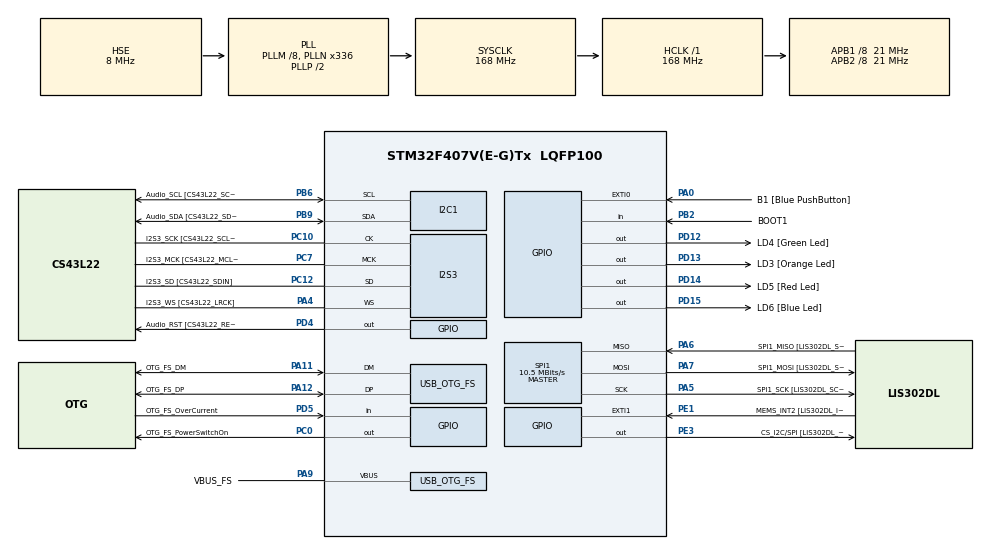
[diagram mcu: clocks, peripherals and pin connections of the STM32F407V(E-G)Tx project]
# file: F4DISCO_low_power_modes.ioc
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PA11.GPIO_Speed=GPIO_SPEED_FREQ_LOW
PD12.GPIO_Label=LD4 [Green Led]
PH0-OSC_IN.Signal=RCC_OSC_IN
PC10.GPIO_PuPd=GPIO_NOPULL
SPI1.VirtualType=VM_MASTER
PB10.GPIO_PuPd=GPIO_NOPULL
PA10.GPIO_PuPd=GPIO_NOPULL
PC12.Signal=I2S3_SD
PA14.GPIO_Label=SWCLK
NVIC.RTC_WKUP_IRQn=true\:0\:0\:false\:false\:true\:true\:true
VP_RTC_VS_RTC_Activate.Mode=RTC_Enabled
PA6.GPIO_Label=SPI1_MISO [LIS302DL_SDO]
PB6.GPIO_Label=Audio_SCL [CS43L22_SCL]
PC15-OSC32_OUT.GPIO_Label=PC15-OSC32_OUT
PC3.GPIO_Speed=GPIO_SPEED_FREQ_LOW
RCC.SYSCLKSource=RCC_SYSCLKSOURCE_PLLCLK
PA6.GPIO_Mode=GPIO_MODE_AF_PP
PD14.GPIO_Speed=GPIO_SPEED_FREQ_LOW
PA4.Mode=Half_Duplex_Master
SPI1.Direction=SPI_DIRECTION_2LINES
I2S3.AudioFreq-Half_Duplex_Master=I2S_AUDIOFREQ_96K
PD4.Signal=GPIO_Output
RCC.APB2TimFreq_Value=42000000
PB6.Signal=I2C1_SCL
PC7.Signal=I2S3_MCK
PB6.Mode=I2C
SPI1.CalculateBaudRate=10.5 MBits/s
PC3.Signal=I2S2_SD
PE1.Signal=GPXTI1
USB_OTG_FS.phy_itface=HCD_PHY_EMBEDDED
PB2.Signal=GPIO_Input
I2S3.ErrorAudioFreq=-2.34 %
PA5.GPIO_PuPd=GPIO_NOPULL
I2S3.ErrorAudioFreq-Half_Duplex_Master=0.8 %
PD5.GPIO_Mode=GPIO_MODE_INPUT
PD14.GPIO_PuPd=GPIO_NOPULL
PB2.GPIO_PuPd=GPIO_NOPULL
VP_TIM1_VS_ClockSourceINT.Mode=Internal
SPI1.CalculateBaudRate-Full_Duplex_Master=42.0 MBits/s
Mcu.Package=LQFP100
PB9.Signal=I2C1_SDA
PD12.Signal=GPIO_Output
PB9.GPIO_PuPd=GPIO_NOPULL
PA10.Signal=USB_OTG_FS_ID
RCC.APB2CLKDivider=RCC_HCLK_DIV8
RCC.APB1TimFreq_Value=42000000
TIM1.Period=5000
PC12.GPIO_PuPd=GPIO_NOPULL
PA6.GPIO_Speed=GPIO_SPEED_FREQ_LOW
PA12.GPIO_PuPd=GPIO_NOPULL
PA4.GPIO_Label=I2S3_WS [CS43L22_LRCK]
PD15.Signal=GPIO_Output
PC0.PinState=GPIO_PIN_SET
PA5.Mode=Full_Duplex_Master
I2S3.FullDuplexMode=I2S_FULLDUPLEXMODE_DISABLE
PA9.GPIO_Label=VBUS_FS
PB6.GPIO_PuPd=GPIO_NOPULL
PA11.GPIO_Label=OTG_FS_DM
PE1.GPIO_PuPd=GPIO_NOPULL
PC0.Signal=GPIO_Output
RCC.APB1CLKDivider=RCC_HCLK_DIV8
PC14-OSC32_IN.Signal=RCC_OSC32_IN
PA0-WKUP.GPIO_ModeDefaultEXTI=GPIO_MODE_EVT_RISING
PA0-WKUP.GPIO_Label=B1 [Blue PushButton]
PA0-WKUP.Signal=GPXTI0
USB_HOST0.BSP.STBoard=false
PC10.GPIO_Mode=GPIO_MODE_AF_PP
PB10.GPIO_Mode=GPIO_MODE_AF_PP
PA9.Signal=USB_OTG_FS_VBUS
I2S3.VirtualMode=I2S_MODE_MASTER
PC7.GPIO_PuPd=GPIO_NOPULL
PB10.Signal=I2S2_CK
PA5.Signal=SPI1_SCK
PC12.Mode=Half_Duplex_Master
PE1.GPIO_Label=MEMS_INT2 [LIS302DL_INT2]
USB_HOST.VirtualModeFS=Cdc
PA7.GPIO_Speed=GPIO_SPEED_FREQ_LOW
PB2.GPIO_Mode=GPIO_MODE_INPUT
SPI1.Mode=SPI_MODE_MASTER
PD4.GPIO_Speed=GPIO_SPEED_FREQ_LOW
PE3.GPIO_PuPd=GPIO_NOPULL
PH1-OSC_OUT.GPIO_Label=PH1-OSC_OUT
PA13.Mode=Serial_Wire
PC7.GPIO_Label=I2S3_MCK [CS43L22_MCLK]
PA4.Signal=I2S3_WS
PC12.GPIO_Mode=GPIO_MODE_AF_PP
PA5.GPIO_Label=SPI1_SCK [LIS302DL_SCL/SPC]
PE3.GPIO_Speed=GPIO_SPEED_FREQ_LOW
PC12.GPIO_Label=I2S3_SD [CS43L22_SDIN]
PA11.Signal=USB_OTG_FS_DM
ProjectManager.HeapSize=0x200
NVIC.TIM1_UP_TIM10_IRQn=true\:0\:0\:false\:false\:true\:true\:true
NVIC.PriorityGroup=NVIC_PRIORITYGROUP_0
PE3.Signal=GPIO_Output
PC3.GPIO_Label=PDM_OUT [MP45DT02_DOUT]
PA0-WKUP.GPIO_PuPd=GPIO_NOPULL
I2S3.Instance=SPI$Index
PB6.GPIO_Speed=GPIO_SPEED_FREQ_LOW
SPI1.BaudRatePrescaler-Full_Duplex_Master=SPI_BAUDRATEPRESCALER_2
USB_HOST0.BSP.mode=Output
Mcu.Family=STM32F4
PC3.GPIO_Mode=GPIO_MODE_AF_PP
PA6.Mode=Full_Duplex_Master
RCC.CortexFreq_Value=168000000
PB10.GPIO_Speed=GPIO_SPEED_FREQ_LOW
PB6.GPIO_Mode=GPIO_MODE_AF_OD
PD15.GPIO_Speed=GPIO_SPEED_FREQ_LOW
PC10.Signal=I2S3_CK
PA7.GPIO_Mode=GPIO_MODE_AF_PP
PC0.GPIO_Label=OTG_FS_PowerSwitchOn
PA11.Mode=Host_Only
PC10.GPIO_Speed=GPIO_SPEED_FREQ_LOW
PA11.GPIO_PuPd=GPIO_NOPULL
ProjectManager.StackSize=0x400
SPI1.Mode-Full_Duplex_Master=SPI_MODE_MASTER
PD13.Signal=GPIO_Output
PA12.Signal=USB_OTG_FS_DP
TIM1.Prescaler=41999
RCC.HCLKFreq_Value=168000000
USB_HOST0.BSP.ip=GPIO
RCC.AHBFreq_Value=168000000
PH0-OSC_IN.Mode=HSE-External-Oscillator
PH0-OSC_IN.GPIO_Label=PH0-OSC_IN
PA9.GPIO_Mode=GPIO_MODE_INPUT
RCC.HSE_VALUE=8000000
PA4.GPIO_PuPd=GPIO_NOPULL
PA4.GPIO_Speed=GPIO_SPEED_FREQ_LOW
PA6.GPIO_PuPd=GPIO_NOPULL
PC14-OSC32_IN.Mode=LSE-External-Oscillator
PA14.Mode=Serial_Wire
PA10.GPIO_Label=OTG_FS_ID
PC7.GPIO_Mode=GPIO_MODE_AF_PP
USB_HOST0.BSP.i2creg=0
PH1-OSC_OUT.Mode=HSE-External-Oscillator
USB_HOST0.BSP.i2caddr=0
PD13.GPIO_Label=LD3 [Orange Led]
PA6.Signal=SPI1_MISO
USB_HOST.USBH_HandleTypeDef-CDC_FS=hUsbHostFS
PD5.GPIO_Label=OTG_FS_OverCurrent
NVIC.OTG_FS_IRQn=true\:0\:0\:false\:false\:true\:true\:true
PD15.GPIO_PuPd=GPIO_NOPULL
USB_OTG_FS.VirtualMode=Host_Only
PA10.GPIO_Speed=GPIO_SPEED_FREQ_LOW
USB_HOST0.BSP.name=Drive_VBUS_FS
PB9.GPIO_Speed=GPIO_SPEED_FREQ_LOW
PC14-OSC32_IN.GPIO_Label=PC14-OSC32_IN
PC0.GPIO_PuPd=GPIO_NOPULL
PA12.GPIO_Speed=GPIO_SPEED_FREQ_LOW
PB3.GPIO_Label=SWO
PC15-OSC32_OUT.Mode=LSE-External-Oscillator
PD12.GPIO_Speed=GPIO_SPEED_FREQ_LOW
PD15.GPIO_Label=LD6 [Blue Led]
RTC.WakeUpCounter=10
PA7.Mode=Full_Duplex_Master
PB9.GPIO_Label=Audio_SDA [CS43L22_SDA]
PC10.GPIO_Label=I2S3_SCK [CS43L22_SCLK]
RTC.WakeUpClock=RTC_WAKEUPCLOCK_CK_SPRE_16BITS
USB_HOST0.BSP.solution=PC0
PC10.Mode=Half_Duplex_Master
USB_HOST.BSP.number=1
PD5.Signal=GPIO_Input
PE1.GPIO_ModeDefaultEXTI=GPIO_MODE_EVT_RISING
PA9.GPIO_PuPd=GPIO_NOPULL
PA12.GPIO_Label=OTG_FS_DP
PA10.GPIO_Mode=GPIO_MODE_AF_PP
PA13.Signal=SYS_JTMS-SWDIO
PD4.GPIO_PuPd=GPIO_NOPULL
PA9.Mode=Activate_VBUS
PC0.GPIO_Speed=GPIO_SPEED_FREQ_LOW
I2S3.RealAudioFreq-Half_Duplex_Master=96.774 KHz
ProjectManager.TargetToolchain=STM32CubeIDE
PB10.GPIO_Label=CLK_IN [MP45DT02_CLK]
PB9.Mode=I2C
PC15-OSC32_OUT.Signal=RCC_OSC32_OUT
PA7.GPIO_PuPd=GPIO_NOPULL
board=STM32F407G-DISC1
PD13.GPIO_Speed=GPIO_SPEED_FREQ_LOW
PC7.GPIO_Speed=GPIO_SPEED_FREQ_LOW
RCC.VCOOutputFreq_Value=336000000
PB9.GPIO_Mode=GPIO_MODE_AF_OD
PA12.GPIO_Mode=GPIO_MODE_AF_PP
PA4.GPIO_Mode=GPIO_MODE_AF_PP
RCC.APB2Freq_Value=21000000
USB_HOST0.BSP.api=Unknown
PD4.GPIO_Label=Audio_RST [CS43L22_RESET]
PH1-OSC_OUT.Signal=RCC_OSC_OUT
PD13.GPIO_PuPd=GPIO_NOPULL
PD5.GPIO_PuPd=GPIO_NOPULL
PD14.GPIO_Label=LD5 [Red Led]
Mcu.Name=STM32F407V(E-G)Tx
PA13.GPIO_Label=SWDIO
PD14.Signal=GPIO_Output
RCC.48MHZClocksFreq_Value=48000000
PB3.Signal=SYS_JTDO-SWO
RCC.SYSCLKFreq_VALUE=168000000
PA7.GPIO_Label=SPI1_MOSI [LIS302DL_SDA/SDI/SDO]
PA12.Mode=Host_Only
VP_USB_HOST_VS_USB_HOST_CDC_FS.Mode=CDC_FS
PA14.Signal=SYS_JTCK-SWCLK
PB2.GPIO_Label=BOOT1
RCC.HSI_VALUE=16000000
VP_RTC_VS_RTC_WakeUp_intern.Mode=WakeUp
PA5.GPIO_Speed=GPIO_SPEED_FREQ_LOW
RCC.PLLQ=7
I2S3.RealAudioFreq=93.75 KHz
RCC.PLLM=8
RCC.PLLN=336
PE3.GPIO_Label=CS_I2C/SPI [LIS302DL_CS_I2C/SPI]
PC7.Mode=Master_Clock_Activated
PA11.GPIO_Mode=GPIO_MODE_AF_PP
RCC.APB1Freq_Value=21000000
PA5.GPIO_Mode=GPIO_MODE_AF_PP
PC12.GPIO_Speed=GPIO_SPEED_FREQ_LOW
PC3.GPIO_PuPd=GPIO_NOPULL
PD12.GPIO_PuPd=GPIO_NOPULL
PA7.Signal=SPI1_MOSI
USB_HOST0.BSP.instance=PC0

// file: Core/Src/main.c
/* USER CODE BEGIN Header */
/**
  ******************************************************************************
  * @file           : main.c
  * @brief          : Main program body
  ******************************************************************************
  * @attention
  *
  * <h2><center>&copy; Copyright (c) 2021 STMicroelectronics.
  * All rights reserved.</center></h2>
  *
  * This software component is licensed by ST under Ultimate Liberty license
  * SLA0044, the "License"; You may not use this file except in compliance with
  * the License. You may obtain a copy of the License at:
  *                             www.st.com/SLA0044
  *
  ******************************************************************************
  */
/* USER CODE END Header */
#include "main.h"
#include "usb_host.h"

I2C_HandleTypeDef hi2c1;

I2S_HandleTypeDef hi2s3;

RTC_HandleTypeDef hrtc;

SPI_HandleTypeDef hspi1;

TIM_HandleTypeDef htim1;

void SystemClock_Config(void);
static void MX_GPIO_Init(void);
static void MX_I2C1_Init(void);
static void MX_I2S3_Init(void);
static void MX_SPI1_Init(void);
static void MX_RTC_Init(void);
static void MX_TIM1_Init(void);
void MX_USB_HOST_Process(void);

int main(void)
{

  /* MCU Configuration--------------------------------------------------------*/

  /* Reset of all peripherals, Initializes the Flash interface and the Systick. */
  HAL_Init();

  /* Configure the system clock */
  SystemClock_Config();

  /* Initialize all configured peripherals */
  MX_GPIO_Init();
  MX_I2C1_Init();
  MX_I2S3_Init();
  MX_SPI1_Init();
  MX_USB_HOST_Init();
  MX_RTC_Init();
  MX_TIM1_Init();
  /* USER CODE BEGIN 2 */
  __HAL_PWR_CLEAR_FLAG(PWR_FLAG_WU);
  /* USER CODE END 2 */

  /* Infinite loop */
  /* USER CODE BEGIN WHILE */
  while (1)
  {
//	enter sleep
	  HAL_SuspendTick();
	  HAL_PWR_EnterSLEEPMode(PWR_LOWPOWERREGULATOR_ON, PWR_SLEEPENTRY_WFI);

//	Wake up from TIM1 interrupt after 5 seconds, Blue LED on
	  HAL_Delay(500);
	  HAL_GPIO_WritePin(GPIOD, GPIO_PIN_15, GPIO_PIN_RESET);

//	Enter STOP
	  HAL_PWR_EnterSTOPMode(PWR_LOWPOWERREGULATOR_ON, PWR_STOPENTRY_WFI);

//	Wake up from RTC WakeUp after 5 seconds, red LED on
	  HAL_GPIO_WritePin(GPIOD, GPIO_PIN_14, GPIO_PIN_RESET);

//	  Orange LED blink before STBY
	  HAL_GPIO_WritePin(GPIOD, GPIO_PIN_13, GPIO_PIN_SET);
	  HAL_Delay(250);
	  HAL_GPIO_TogglePin(GPIOD, GPIO_PIN_13);
	  HAL_Delay(250);
	  HAL_GPIO_TogglePin(GPIOD, GPIO_PIN_13);
	  HAL_Delay(250);
	  HAL_GPIO_TogglePin(GPIOD, GPIO_PIN_13);

//	  enter STBY
	  HAL_PWR_EnterSTANDBYMode();

//	  waiting for RESET

    /* USER CODE END WHILE */
    MX_USB_HOST_Process();

  }
}

void SystemClock_Config(void)
{
  RCC_OscInitTypeDef RCC_OscInitStruct = {0};
  RCC_ClkInitTypeDef RCC_ClkInitStruct = {0};
  RCC_PeriphCLKInitTypeDef PeriphClkInitStruct = {0};

  /** Configure the main internal regulator output voltage
  */
  __HAL_RCC_PWR_CLK_ENABLE();
  __HAL_PWR_VOLTAGESCALING_CONFIG(PWR_REGULATOR_VOLTAGE_SCALE1);
  /** Initializes the RCC Oscillators according to the specified parameters
  * in the RCC_OscInitTypeDef structure.
  */
  RCC_OscInitStruct.OscillatorType = RCC_OSCILLATORTYPE_LSI|RCC_OSCILLATORTYPE_HSE;
  RCC_OscInitStruct.HSEState = RCC_HSE_ON;
  RCC_OscInitStruct.LSIState = RCC_LSI_ON;
  RCC_OscInitStruct.PLL.PLLState = RCC_PLL_ON;
  RCC_OscInitStruct.PLL.PLLSource = RCC_PLLSOURCE_HSE;
  RCC_OscInitStruct.PLL.PLLM = 8;
  RCC_OscInitStruct.PLL.PLLN = 336;
  RCC_OscInitStruct.PLL.PLLP = RCC_PLLP_DIV2;
  RCC_OscInitStruct.PLL.PLLQ = 7;
  if (HAL_RCC_OscConfig(&RCC_OscInitStruct) != HAL_OK)
  {
    Error_Handler();
  }
  /** Initializes the CPU, AHB and APB buses clocks
  */
  RCC_ClkInitStruct.ClockType = RCC_CLOCKTYPE_HCLK|RCC_CLOCKTYPE_SYSCLK
                              |RCC_CLOCKTYPE_PCLK1|RCC_CLOCKTYPE_PCLK2;
  RCC_ClkInitStruct.SYSCLKSource = RCC_SYSCLKSOURCE_PLLCLK;
  RCC_ClkInitStruct.AHBCLKDivider = RCC_SYSCLK_DIV1;
  RCC_ClkInitStruct.APB1CLKDivider = RCC_HCLK_DIV8;
  RCC_ClkInitStruct.APB2CLKDivider = RCC_HCLK_DIV8;

  if (HAL_RCC_ClockConfig(&RCC_ClkInitStruct, FLASH_LATENCY_5) != HAL_OK)
  {
    Error_Handler();
  }
  PeriphClkInitStruct.PeriphClockSelection = RCC_PERIPHCLK_I2S|RCC_PERIPHCLK_RTC;
  PeriphClkInitStruct.PLLI2S.PLLI2SN = 192;
  PeriphClkInitStruct.PLLI2S.PLLI2SR = 2;
  PeriphClkInitStruct.RTCClockSelection = RCC_RTCCLKSOURCE_LSI;
  if (HAL_RCCEx_PeriphCLKConfig(&PeriphClkInitStruct) != HAL_OK)
  {
    Error_Handler();
  }
}

static void MX_I2C1_Init(void)
{

  hi2c1.Instance = I2C1;
  hi2c1.Init.ClockSpeed = 100000;
  hi2c1.Init.DutyCycle = I2C_DUTYCYCLE_2;
  hi2c1.Init.OwnAddress1 = 0;
  hi2c1.Init.AddressingMode = I2C_ADDRESSINGMODE_7BIT;
  hi2c1.Init.DualAddressMode = I2C_DUALADDRESS_DISABLE;
  hi2c1.Init.OwnAddress2 = 0;
  hi2c1.Init.GeneralCallMode = I2C_GENERALCALL_DISABLE;
  hi2c1.Init.NoStretchMode = I2C_NOSTRETCH_DISABLE;
  if (HAL_I2C_Init(&hi2c1) != HAL_OK)
  {
    Error_Handler();
  }

}

static void MX_I2S3_Init(void)
{

  hi2s3.Instance = SPI3;
  hi2s3.Init.Mode = I2S_MODE_MASTER_TX;
  hi2s3.Init.Standard = I2S_STANDARD_PHILIPS;
  hi2s3.Init.DataFormat = I2S_DATAFORMAT_16B;
  hi2s3.Init.MCLKOutput = I2S_MCLKOUTPUT_ENABLE;
  hi2s3.Init.AudioFreq = I2S_AUDIOFREQ_96K;
  hi2s3.Init.CPOL = I2S_CPOL_LOW;
  hi2s3.Init.ClockSource = I2S_CLOCK_PLL;
  hi2s3.Init.FullDuplexMode = I2S_FULLDUPLEXMODE_DISABLE;
  if (HAL_I2S_Init(&hi2s3) != HAL_OK)
  {
    Error_Handler();
  }

}

static void MX_RTC_Init(void)
{

  RTC_TimeTypeDef sTime = {0};
  RTC_DateTypeDef sDate = {0};

  /** Initialize RTC Only
  */
  hrtc.Instance = RTC;
  hrtc.Init.HourFormat = RTC_HOURFORMAT_24;
  hrtc.Init.AsynchPrediv = 127;
  hrtc.Init.SynchPrediv = 255;
  hrtc.Init.OutPut = RTC_OUTPUT_DISABLE;
  hrtc.Init.OutPutPolarity = RTC_OUTPUT_POLARITY_HIGH;
  hrtc.Init.OutPutType = RTC_OUTPUT_TYPE_OPENDRAIN;
  if (HAL_RTC_Init(&hrtc) != HAL_OK)
  {
    Error_Handler();
  }

  /** Initialize RTC and set the Time and Date
  */
  sTime.Hours = 0x0;
  sTime.Minutes = 0x0;
  sTime.Seconds = 0x0;
  sTime.DayLightSaving = RTC_DAYLIGHTSAVING_NONE;
  sTime.StoreOperation = RTC_STOREOPERATION_RESET;
  if (HAL_RTC_SetTime(&hrtc, &sTime, RTC_FORMAT_BCD) != HAL_OK)
  {
    Error_Handler();
  }
  sDate.WeekDay = RTC_WEEKDAY_MONDAY;
  sDate.Month = RTC_MONTH_JANUARY;
  sDate.Date = 0x1;
  sDate.Year = 0x0;

  if (HAL_RTC_SetDate(&hrtc, &sDate, RTC_FORMAT_BCD) != HAL_OK)
  {
    Error_Handler();
  }
  /** Enable the WakeUp
  */
  if (HAL_RTCEx_SetWakeUpTimer_IT(&hrtc, 10, RTC_WAKEUPCLOCK_CK_SPRE_16BITS) != HAL_OK)
  {
    Error_Handler();
  }

}

static void MX_SPI1_Init(void)
{

  /* SPI1 parameter configuration*/
  hspi1.Instance = SPI1;
  hspi1.Init.Mode = SPI_MODE_MASTER;
  hspi1.Init.Direction = SPI_DIRECTION_2LINES;
  hspi1.Init.DataSize = SPI_DATASIZE_8BIT;
  hspi1.Init.CLKPolarity = SPI_POLARITY_LOW;
  hspi1.Init.CLKPhase = SPI_PHASE_1EDGE;
  hspi1.Init.NSS = SPI_NSS_SOFT;
  hspi1.Init.BaudRatePrescaler = SPI_BAUDRATEPRESCALER_2;
  hspi1.Init.FirstBit = SPI_FIRSTBIT_MSB;
  hspi1.Init.TIMode = SPI_TIMODE_DISABLE;
  hspi1.Init.CRCCalculation = SPI_CRCCALCULATION_DISABLE;
  hspi1.Init.CRCPolynomial = 10;
  if (HAL_SPI_Init(&hspi1) != HAL_OK)
  {
    Error_Handler();
  }

}

static void MX_TIM1_Init(void)
{

  TIM_ClockConfigTypeDef sClockSourceConfig = {0};
  TIM_MasterConfigTypeDef sMasterConfig = {0};

  htim1.Instance = TIM1;
  htim1.Init.Prescaler = 41999;
  htim1.Init.CounterMode = TIM_COUNTERMODE_UP;
  htim1.Init.Period = 5000;
  htim1.Init.ClockDivision = TIM_CLOCKDIVISION_DIV1;
  htim1.Init.RepetitionCounter = 0;
  htim1.Init.AutoReloadPreload = TIM_AUTORELOAD_PRELOAD_DISABLE;
  if (HAL_TIM_Base_Init(&htim1) != HAL_OK)
  {
    Error_Handler();
  }
  sClockSourceConfig.ClockSource = TIM_CLOCKSOURCE_INTERNAL;
  if (HAL_TIM_ConfigClockSource(&htim1, &sClockSourceConfig) != HAL_OK)
  {
    Error_Handler();
  }
  sMasterConfig.MasterOutputTrigger = TIM_TRGO_RESET;
  sMasterConfig.MasterSlaveMode = TIM_MASTERSLAVEMODE_DISABLE;
  if (HAL_TIMEx_MasterConfigSynchronization(&htim1, &sMasterConfig) != HAL_OK)
  {
    Error_Handler();
  }

}

static void MX_GPIO_Init(void)
{
  GPIO_InitTypeDef GPIO_InitStruct = {0};

  /* GPIO Ports Clock Enable */
  __HAL_RCC_GPIOE_CLK_ENABLE();
  __HAL_RCC_GPIOC_CLK_ENABLE();
  __HAL_RCC_GPIOH_CLK_ENABLE();
  __HAL_RCC_GPIOA_CLK_ENABLE();
  __HAL_RCC_GPIOB_CLK_ENABLE();
  __HAL_RCC_GPIOD_CLK_ENABLE();

  /*Configure GPIO pin Output Level */
  HAL_GPIO_WritePin(CS_I2C_SPI_GPIO_Port, CS_I2C_SPI_Pin, GPIO_PIN_RESET);

  /*Configure GPIO pin Output Level */
  HAL_GPIO_WritePin(OTG_FS_PowerSwitchOn_GPIO_Port, OTG_FS_PowerSwitchOn_Pin, GPIO_PIN_SET);

  /*Configure GPIO pin Output Level */
  HAL_GPIO_WritePin(GPIOD, LD4_Pin|LD3_Pin|LD5_Pin|LD6_Pin
                          |Audio_RST_Pin, GPIO_PIN_RESET);

  /*Configure GPIO pin : CS_I2C_SPI_Pin */
  GPIO_InitStruct.Pin = CS_I2C_SPI_Pin;
  GPIO_InitStruct.Mode = GPIO_MODE_OUTPUT_PP;
  GPIO_InitStruct.Pull = GPIO_NOPULL;
  GPIO_InitStruct.Speed = GPIO_SPEED_FREQ_LOW;
  HAL_GPIO_Init(CS_I2C_SPI_GPIO_Port, &GPIO_InitStruct);

  /*Configure GPIO pin : OTG_FS_PowerSwitchOn_Pin */
  GPIO_InitStruct.Pin = OTG_FS_PowerSwitchOn_Pin;
  GPIO_InitStruct.Mode = GPIO_MODE_OUTPUT_PP;
  GPIO_InitStruct.Pull = GPIO_NOPULL;
  GPIO_InitStruct.Speed = GPIO_SPEED_FREQ_LOW;
  HAL_GPIO_Init(OTG_FS_PowerSwitchOn_GPIO_Port, &GPIO_InitStruct);

  /*Configure GPIO pin : PDM_OUT_Pin */
  GPIO_InitStruct.Pin = PDM_OUT_Pin;
  GPIO_InitStruct.Mode = GPIO_MODE_AF_PP;
  GPIO_InitStruct.Pull = GPIO_NOPULL;
  GPIO_InitStruct.Speed = GPIO_SPEED_FREQ_LOW;
  GPIO_InitStruct.Alternate = GPIO_AF5_SPI2;
  HAL_GPIO_Init(PDM_OUT_GPIO_Port, &GPIO_InitStruct);

  /*Configure GPIO pin : B1_Pin */
  GPIO_InitStruct.Pin = B1_Pin;
  GPIO_InitStruct.Mode = GPIO_MODE_EVT_RISING;
  GPIO_InitStruct.Pull = GPIO_NOPULL;
  HAL_GPIO_Init(B1_GPIO_Port, &GPIO_InitStruct);

  /*Configure GPIO pin : BOOT1_Pin */
  GPIO_InitStruct.Pin = BOOT1_Pin;
  GPIO_InitStruct.Mode = GPIO_MODE_INPUT;
  GPIO_InitStruct.Pull = GPIO_NOPULL;
  HAL_GPIO_Init(BOOT1_GPIO_Port, &GPIO_InitStruct);

  /*Configure GPIO pin : CLK_IN_Pin */
  GPIO_InitStruct.Pin = CLK_IN_Pin;
  GPIO_InitStruct.Mode = GPIO_MODE_AF_PP;
  GPIO_InitStruct.Pull = GPIO_NOPULL;
  GPIO_InitStruct.Speed = GPIO_SPEED_FREQ_LOW;
  GPIO_InitStruct.Alternate = GPIO_AF5_SPI2;
  HAL_GPIO_Init(CLK_IN_GPIO_Port, &GPIO_InitStruct);

  /*Configure GPIO pins : LD4_Pin LD3_Pin LD5_Pin LD6_Pin
                           Audio_RST_Pin */
  GPIO_InitStruct.Pin = LD4_Pin|LD3_Pin|LD5_Pin|LD6_Pin
                          |Audio_RST_Pin;
  GPIO_InitStruct.Mode = GPIO_MODE_OUTPUT_PP;
  GPIO_InitStruct.Pull = GPIO_NOPULL;
  GPIO_InitStruct.Speed = GPIO_SPEED_FREQ_LOW;
  HAL_GPIO_Init(GPIOD, &GPIO_InitStruct);

  /*Configure GPIO pin : OTG_FS_OverCurrent_Pin */
  GPIO_InitStruct.Pin = OTG_FS_OverCurrent_Pin;
  GPIO_InitStruct.Mode = GPIO_MODE_INPUT;
  GPIO_InitStruct.Pull = GPIO_NOPULL;
  HAL_GPIO_Init(OTG_FS_OverCurrent_GPIO_Port, &GPIO_InitStruct);

  /*Configure GPIO pin : MEMS_INT2_Pin */
  GPIO_InitStruct.Pin = MEMS_INT2_Pin;
  GPIO_InitStruct.Mode = GPIO_MODE_EVT_RISING;
  GPIO_InitStruct.Pull = GPIO_NOPULL;
  HAL_GPIO_Init(MEMS_INT2_GPIO_Port, &GPIO_InitStruct);

}

void Error_Handler(void)
{
  __disable_irq();
  while (1)
  {
  }
}

/************************ (C) COPYRIGHT STMicroelectronics *****END OF FILE****/
